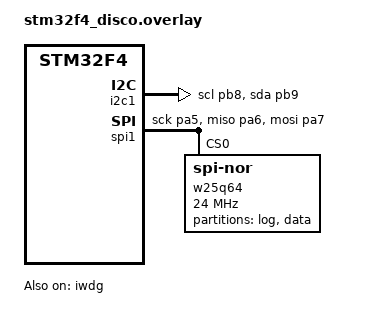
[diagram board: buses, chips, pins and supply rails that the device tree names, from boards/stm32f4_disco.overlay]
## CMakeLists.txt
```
cmake_minimum_required(VERSION 3.20.0)
find_package(Zephyr REQUIRED HINTS $ENV{ZEPHYR_BASE})
project(env_mon_zephyr)

target_include_directories(app PRIVATE
  ${CMAKE_CURRENT_SOURCE_DIR}/include
  ${CMAKE_CURRENT_SOURCE_DIR}/src
  ${CMAKE_CURRENT_SOURCE_DIR}/src/util
  ${CMAKE_CURRENT_SOURCE_DIR}/src/sensors
  ${CMAKE_CURRENT_SOURCE_DIR}/src/control
  ${CMAKE_CURRENT_SOURCE_DIR}/src/storage
  ${CMAKE_CURRENT_SOURCE_DIR}/src/watchdog
  ${CMAKE_CURRENT_SOURCE_DIR}/src/misc
)

target_sources(app PRIVATE
  src/main.c
  src/util/avg_list.c
  src/sensors/temperature.c
  src/sensors/humidity.c
  src/sensors/light.c
  src/sensors/pressure.c
  src/control/sys_control.c
  src/storage/storage.c
  src/watchdog/wdt.c
  src/misc/misc.c
)
```

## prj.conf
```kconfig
CONFIG_LOG=y
CONFIG_LOG_DEFAULT_LEVEL=3

CONFIG_GPIO=y
CONFIG_LED=y

CONFIG_I2C=y
CONFIG_SPI=y
CONFIG_SENSOR=y
CONFIG_SHT3XD=y
CONFIG_BME280=y

CONFIG_FLASH=y
CONFIG_FLASH_MAP=y
CONFIG_MTD=y
CONFIG_SPI_NOR=y
CONFIG_FILE_SYSTEM=y
CONFIG_FILE_SYSTEM_LITTLEFS=y
CONFIG_FS_LITTLEFS=y

CONFIG_WATCHDOG=y

CONFIG_ASSERT=y
CONFIG_THREAD_STACK_INFO=y
CONFIG_HEAP_MEM_POOL_SIZE=16384
CONFIG_MAIN_STACK_SIZE=2048
CONFIG_SYSTEM_WORKQUEUE_STACK_SIZE=2048

CONFIG_TIMESLICING=y

# Optional: if you later implement hardware-timer callbacks
# CONFIG_COUNTER=y
# CONFIG_COUNTER_STM32_TMR=y
```

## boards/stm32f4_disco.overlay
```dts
&i2c1 {
	status = "okay";
	pinctrl-0 = <&i2c1_scl_pb8 &i2c1_sda_pb9>;
	pinctrl-names = "default";
};

&spi1 {
	status = "okay";
	pinctrl-0 = <&spi1_sck_pa5 &spi1_miso_pa6 &spi1_mosi_pa7>;
	pinctrl-names = "default";

	w25q64: w25q64@0 {
		compatible = "jedec,spi-nor";
		reg = <0>;
		spi-max-frequency = <24000000>;
		jedec-id = [ ef 40 17 ]; /* Winbond W25Q64 */
		size = <0x800000>;      /* 8 MiB (adjust if needed) */
		status = "okay";
		cs-gpios = <&gpioa 4 GPIO_ACTIVE_LOW>;

		partitions {
			compatible = "fixed-partitions";
			#address-cells = <1>;
			#size-cells = <1>;

			log_partition: partition@0 {
				label = "log";
				reg = <0x000000 0x0040000>; /* 256 KiB */
			};

			data_partition: partition@40000 {
				label = "data";
				reg = <0x0040000 0x03C0000>;
			};
		};
	};
};

/ {
	aliases {
		/* Map human-friendly names; board also provides led0..led3 */
		led-green = &ld4;   /* PD12 */
		led-orange = &ld3;  /* PD13 */
		led-red = &ld5;     /* PD14 */
		led-blue = &ld6;    /* PD15 */
	};

	pa9_reset: pa9_reset {
		gpios = <&gpioa 9 GPIO_ACTIVE_HIGH>;
		label = "pa9_reset";
	};
};

&iwdg {
	status = "okay";
};
```

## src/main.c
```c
#include <zephyr/kernel.h>
#include <zephyr/device.h>
#include <zephyr/logging/log.h>
#include "app_types.h"

/* Threads */
#include "sensors/temperature.h"
#include "sensors/humidity.h"
#include "sensors/light.h"
#include "sensors/pressure.h"
#include "control/sys_control.h"
#include "storage/storage.h"
#include "watchdog/wdt.h"

LOG_MODULE_REGISTER(app, LOG_LEVEL_INF);

/* Shared environment data */
struct shared_env_data g_env;

/* Log queue for JSON records */
K_MSGQ_DEFINE(log_q, sizeof(struct env_record), 8, 4);

/* Thread stacks and TCBs */
K_THREAD_STACK_DEFINE(temp_stack, 1024);
K_THREAD_STACK_DEFINE(humi_stack, 1024);
K_THREAD_STACK_DEFINE(light_stack, 1024);
K_THREAD_STACK_DEFINE(press_stack, 1024);
K_THREAD_STACK_DEFINE(ctrl_stack, 1024);
K_THREAD_STACK_DEFINE(stor_stack, 1536);
K_THREAD_STACK_DEFINE(wdt_stack, 768);

static struct k_thread temp_tcb, humi_tcb, light_tcb, press_tcb, ctrl_tcb, stor_tcb, wdt_tcb;

void main(void)
{
	LOG_INF("EnvMon Zephyr start (stm32f4_disco)");

	k_mutex_init(&g_env.lock);
	g_env.temperature = 0;
	g_env.humidity = 0;
	g_env.light = 0;
	g_env.pressure = 0;

	/* Start threads with mapped priorities (lower number = higher prio) */
	k_thread_create(&temp_tcb, temp_stack, K_THREAD_STACK_SIZEOF(temp_stack),
	                temperature_thread, NULL, NULL, NULL, K_PRIO_PREEMPT(5), 0, K_NO_WAIT);

	k_thread_create(&humi_tcb, humi_stack, K_THREAD_STACK_SIZEOF(humi_stack),
	                humidity_thread, NULL, NULL, NULL, K_PRIO_PREEMPT(5), 0, K_NO_WAIT);

	k_thread_create(&light_tcb, light_stack, K_THREAD_STACK_SIZEOF(light_stack),
	                light_thread, NULL, NULL, NULL, K_PRIO_PREEMPT(5), 0, K_NO_WAIT);

	k_thread_create(&press_tcb, press_stack, K_THREAD_STACK_SIZEOF(press_stack),
	                pressure_thread, NULL, NULL, NULL, K_PRIO_PREEMPT(5), 0, K_NO_WAIT);

	k_thread_create(&ctrl_tcb, ctrl_stack, K_THREAD_STACK_SIZEOF(ctrl_stack),
	                sys_control_thread, NULL, NULL, NULL, K_PRIO_PREEMPT(2), 0, K_NO_WAIT);

	k_thread_create(&stor_tcb, stor_stack, K_THREAD_STACK_SIZEOF(stor_stack),
	                storage_thread, NULL, NULL, NULL, K_PRIO_PREEMPT(6), 0, K_NO_WAIT);

	k_thread_create(&wdt_tcb, wdt_stack, K_THREAD_STACK_SIZEOF(wdt_stack),
	                watchdog_thread, NULL, NULL, NULL, K_PRIO_PREEMPT(7), 0, K_NO_WAIT);
}
```

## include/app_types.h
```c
#ifndef APP_TYPES_H
#define APP_TYPES_H

#include <zephyr/kernel.h>
#include <stdint.h>

struct env_record {
	int32_t temperature;
	int32_t humidity;
	int32_t light;
	int32_t pressure;
};

/* Shared environment values updated by sensor threads, read by control/log */
struct shared_env_data {
	struct k_mutex lock;
	int32_t temperature;
	int32_t humidity;
	int32_t light;
	int32_t pressure;
};

extern struct shared_env_data g_env;

/* Message queue for logging requests (produced by sys_control, consumed by storage) */
extern struct k_msgq log_q;

#endif /* APP_TYPES_H */
```

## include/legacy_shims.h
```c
#ifndef LEGACY_SHIMS_H
#define LEGACY_SHIMS_H
/* Helpers to ease mental mapping from FreeRTOS calls in original app */
#include <zephyr/kernel.h>

#define vTaskDelay(ms_ticks) k_msleep((ms_ticks))
#define vTaskDelayUntil(last, period) do { k_msleep(period); } while (0)

#endif
```
